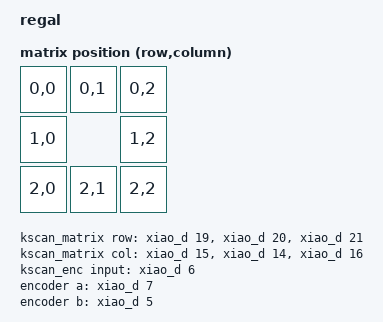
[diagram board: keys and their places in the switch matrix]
/*
 * Copyright (c) 2022 The ZMK Contributors
 *
 * SPDX-License-Identifier: MIT
 */
#include <dt-bindings/zmk/matrix_transform.h>

/ {
    model = "regal";

    chosen {
        zmk,kscan = &kscan;
        zmk,matrix_transform = &transform;
    };


    transform: transform {
        compatible = "zmk,matrix-transform";
        rows = <3>;
        columns = <3>;

//      | SW01  | SW02  | SW03  | SW04  | TK01  |  EN01  |
//      | SW05  | SW06  | SW07  | SW08  | TK02  |
//              | SW09  | SW10  | SW11  | TK03  | 

        map = <
        RC(0,0) RC(0,1) RC(0,2)
        RC(1,0)         RC(1,2)
        RC(2,0) RC(2,1) RC(2,2)
        >;
    }; 


    kscan: kscan {
        compatible = "zmk,kscan-composite";
        label = "KSCAN";
        rows = <3>;
        columns = <3>;

        matrix {
            kscan = <&kscan_matrix>;
        };

        direct {
            kscan = <&kscan_enc>;
            column-offset = <6>; 
        };
    };


    kscan_matrix: kscan_matrix {
        compatible = "zmk,kscan-gpio-matrix";
        label = "KSCAN_MATRIX";

        diode-direction = "col2row"; 

        col-gpios
            = <&xiao_d 15 GPIO_ACTIVE_HIGH>
            , <&xiao_d 14 GPIO_ACTIVE_HIGH>
            , <&xiao_d 16 GPIO_ACTIVE_HIGH>
            ;
        row-gpios
            = <&xiao_d 19 (GPIO_ACTIVE_HIGH | GPIO_PULL_DOWN)>
            , <&xiao_d 20 (GPIO_ACTIVE_HIGH | GPIO_PULL_DOWN)>
            , <&xiao_d 21 (GPIO_ACTIVE_HIGH | GPIO_PULL_DOWN)>
            ;
    };

    kscan_enc: kscan_enc {
        compatible = "zmk,kscan-gpio-direct";
        label = "KSCAN_ENC";
        input-gpios
            = <&xiao_d 6 (GPIO_ACTIVE_LOW | GPIO_PULL_UP)>
            ;
    };

   encoder: encoder {
        compatible = "alps,ec11";
        label = "ENCODER";
        resolution = <4>;
        a-gpios = <&xiao_d 7 (GPIO_ACTIVE_HIGH | GPIO_PULL_UP)>;
        b-gpios = <&xiao_d 5 (GPIO_ACTIVE_HIGH | GPIO_PULL_UP)>;
    };
    sensors {
        compatible = "zmk,keymap-sensors";
        sensors = <&encoder>;
    };
};
